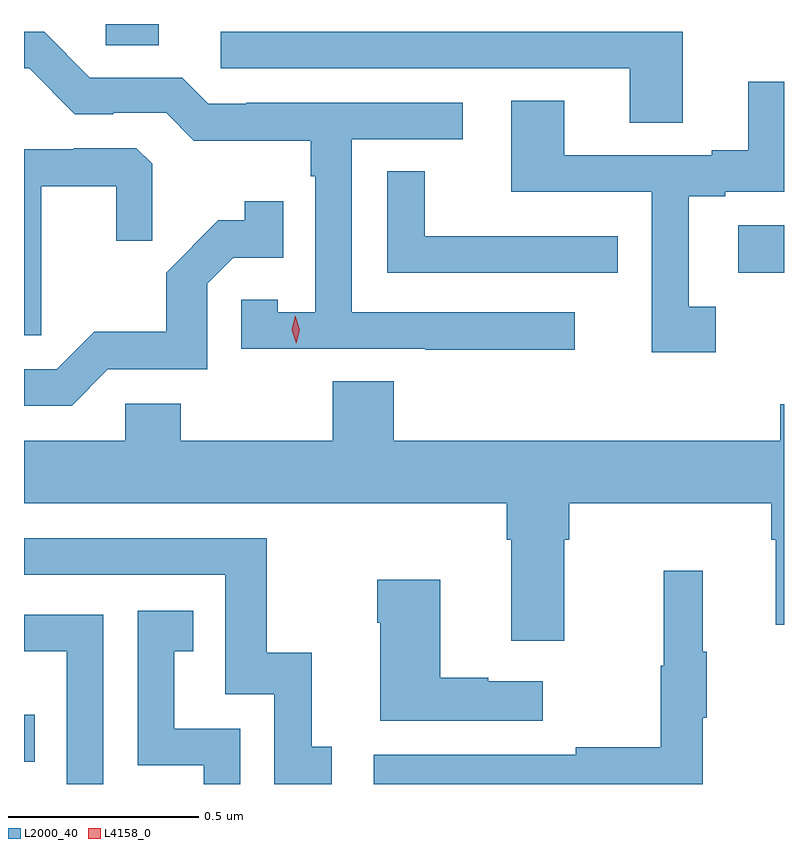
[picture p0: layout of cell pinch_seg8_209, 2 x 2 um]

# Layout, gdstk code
import gdstk
lib = gdstk.Library(unit=1e-6, precision=1e-09)
def R(c, l, rs):  # rectangles x0, y0, x1, y1
    for r in rs: c.add(gdstk.rectangle(r[:2], r[2:], *l))
def P(c, l, *ps):  # polygons
    for p in ps: c.add(gdstk.Polygon(p, *l))
L2000_40 = (2000, 40)
L4158_0 = (4158, 0)

pinch_seg8_209 = lib.new_cell('pinch_seg8_209')
R(pinch_seg8_209, L2000_40, [(634.381,1095.84,634.409,1095.963), (636.261,1097.127,636.381,1097.251), (634.596,1097.725,634.735,1097.781)])
P(pinch_seg8_209, L2000_40, [(636.115,1097.76),(634.899,1097.76),(634.899,1097.664),(635.975,1097.664),(635.975,1097.521),(636.115,1097.521)],
  [(635.83,1097.022),(635.244,1097.022),(635.244,1097.478),(635.536,1097.478),(635.536,1097.574),(634.966,1097.574),(634.966,1097.571),(634.866,1097.571),(634.797,1097.64),(634.554,1097.64),(634.434,1097.76),(634.381,1097.76),(634.381,1097.664),(634.395,1097.664),(634.515,1097.544),(634.616,1097.544),(634.616,1097.547),(634.755,1097.547),(634.828,1097.474),(635.136,1097.474),(635.136,1097.381),(635.148,1097.381),(635.148,1097.023),(635.049,1097.023),(635.049,1097.055),(634.953,1097.055),(634.953,1096.926),(635.437,1096.926),(635.437,1096.924),(635.83,1096.924)],
  [(636.202,1097.037),(636.13,1097.037),(636.13,1097.328),(636.226,1097.328),(636.226,1097.34),(636.381,1097.34),(636.381,1097.629),(636.287,1097.629),(636.287,1097.449),(636.191,1097.449),(636.191,1097.436),(635.803,1097.436),(635.803,1097.579),(635.663,1097.579),(635.663,1097.34),(636.033,1097.34),(636.033,1096.917),(636.202,1096.917)],
  [(634.427,1097.354),(634.624,1097.354),(634.624,1097.211),(634.718,1097.211),(634.718,1097.413),(634.677,1097.454),(634.512,1097.454),(634.512,1097.451),(634.381,1097.451),(634.381,1096.962),(634.427,1096.962)],
  [(635.944,1097.222),(635.831,1097.222),(635.831,1097.223),(635.436,1097.223),(635.436,1097.393),(635.337,1097.393),(635.337,1097.127),(635.944,1097.127)],
  [(634.602,1096.872),(634.863,1096.872),(634.863,1097.097),(634.932,1097.166),(635.063,1097.166),(635.063,1097.314),(634.962,1097.314),(634.962,1097.264),(634.892,1097.264),(634.755,1097.126),(634.755,1096.971),(634.566,1096.971),(634.467,1096.872),(634.381,1096.872),(634.381,1096.776),(634.506,1096.776)],
  [(635.194,1096.841),(635.194,1096.684),(634.794,1096.684),(634.794,1096.782),(634.647,1096.782),(634.647,1096.684),(634.381,1096.684),(634.381,1096.52),(635.651,1096.52),(635.651,1096.424),(635.663,1096.424),(635.663,1096.158),(635.803,1096.158),(635.803,1096.424),(635.816,1096.424),(635.816,1096.52),(636.347,1096.52),(636.347,1096.424),(636.359,1096.424),(636.359,1096.2),(636.381,1096.2),(636.381,1096.78),(636.371,1096.78),(636.371,1096.684),(635.354,1096.684),(635.354,1096.841)],
  [(635.191,1095.879),(635.138,1095.879),(635.138,1096.126),(635.02,1096.126),(635.02,1096.428),(634.381,1096.428),(634.381,1096.332),(634.911,1096.332),(634.911,1096.017),(635.04,1096.017),(635.04,1095.781),(635.191,1095.781)],
  [(636.167,1095.955),(636.178,1095.955),(636.178,1096.129),(636.167,1096.129),(636.167,1096.342),(636.064,1096.342),(636.064,1096.092),(636.057,1096.092),(636.057,1095.878),(635.833,1095.878),(635.833,1095.858),(635.301,1095.858),(635.301,1095.781),(636.167,1095.781)],
  [(635.746,1096.051),(635.603,1096.051),(635.603,1096.061),(635.476,1096.061),(635.476,1096.318),(635.311,1096.318),(635.311,1096.205),(635.318,1096.205),(635.318,1095.947),(635.746,1095.947)],
  [(634.95,1095.927),(634.777,1095.927),(634.777,1096.131),(634.826,1096.131),(634.826,1096.237),(634.68,1096.237),(634.68,1095.831),(634.854,1095.831),(634.854,1095.781),(634.95,1095.781)],
  [(634.59,1096.227),(634.381,1096.227),(634.381,1096.13),(634.494,1096.13),(634.494,1095.781),(634.59,1095.781)])
P(pinch_seg8_209, L4158_0, [(635.097,1096.941),(635.097,1096.941),(635.086,1096.977),(635.095,1097.013),(635.095,1097.013),(635.095,1097.013),(635.106,1096.977),(635.097,1096.941)])

lib.write_gds('pinch_seg8_209.gds')
